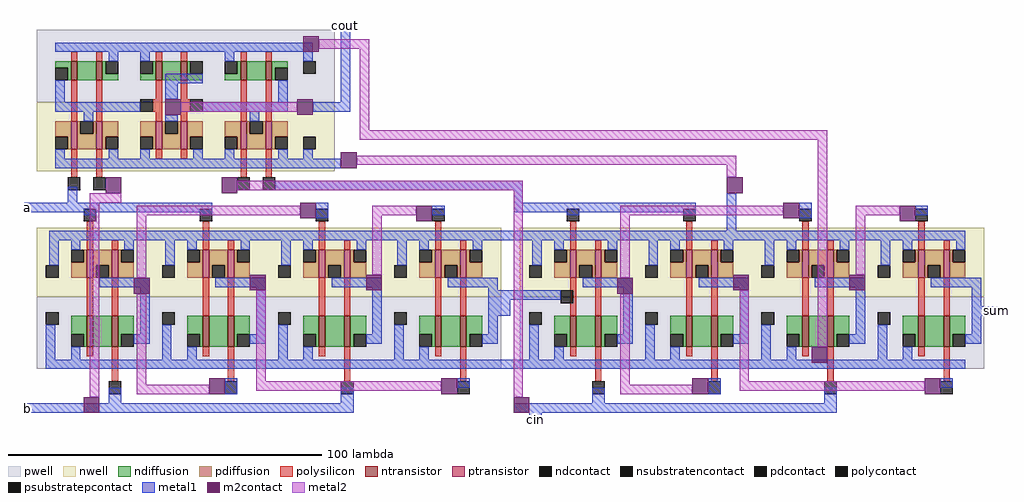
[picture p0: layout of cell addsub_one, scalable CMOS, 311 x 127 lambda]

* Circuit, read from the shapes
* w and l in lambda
.subckt addsub_one GND! Vdd! a b cin cout sum
M1 n1 a n2 GND! nfet w=6 l=2
M2 n3 a GND! GND! nfet w=10 l=2
M3 GND! b n1 GND! nfet w=6 l=2
M4 xor2_0/nand2_2/A b n3 GND! nfet w=10 l=2
M5 n4 n2 GND! GND! nfet w=6 l=2
M6 cout n5 n4 GND! nfet w=6 l=2
M7 n6 a GND! GND! nfet w=10 l=2
M8 xor2_0/nand2_3/B xor2_0/nand2_2/A n6 GND! nfet w=10 l=2
M9 n7 cin GND! GND! nfet w=6 l=2
M10 n5 xor2_1/a n7 GND! nfet w=6 l=2
M11 n8 xor2_0/nand2_2/A GND! GND! nfet w=10 l=2
M12 xor2_0/nand2_3/A b n8 GND! nfet w=10 l=2
M13 n9 xor2_0/nand2_3/A GND! GND! nfet w=10 l=2
M14 xor2_1/a xor2_0/nand2_3/B n9 GND! nfet w=10 l=2
M15 n10 xor2_1/a GND! GND! nfet w=10 l=2
M16 xor2_1/nand2_2/A cin n10 GND! nfet w=10 l=2
M17 n11 xor2_1/a GND! GND! nfet w=10 l=2
M18 xor2_1/nand2_3/B xor2_1/nand2_2/A n11 GND! nfet w=10 l=2
M19 n12 xor2_1/nand2_2/A GND! GND! nfet w=10 l=2
M20 xor2_1/nand2_3/A cin n12 GND! nfet w=10 l=2
M21 n13 xor2_1/nand2_3/A GND! GND! nfet w=10 l=2
M22 sum xor2_1/nand2_3/B n13 GND! nfet w=10 l=2
M23 n2 a Vdd! n14 pfet w=9 l=2
M24 xor2_0/nand2_2/A a Vdd! Vdd! pfet w=9 l=2
M25 Vdd! b n2 n14 pfet w=9 l=2
M26 Vdd! b xor2_0/nand2_2/A Vdd! pfet w=9 l=2
M27 cout n2 Vdd! n14 pfet w=9 l=2
M28 Vdd! n5 cout n14 pfet w=9 l=2
M29 xor2_0/nand2_3/B a Vdd! Vdd! pfet w=9 l=2
M30 Vdd! xor2_0/nand2_2/A xor2_0/nand2_3/B Vdd! pfet w=9 l=2
M31 n5 cin Vdd! n14 pfet w=9 l=2
M32 Vdd! xor2_1/a n5 n14 pfet w=9 l=2
M33 xor2_0/nand2_3/A xor2_0/nand2_2/A Vdd! Vdd! pfet w=9 l=2
M34 Vdd! b xor2_0/nand2_3/A Vdd! pfet w=9 l=2
M35 xor2_1/a xor2_0/nand2_3/A Vdd! Vdd! pfet w=9 l=2
M36 Vdd! xor2_0/nand2_3/B xor2_1/a Vdd! pfet w=9 l=2
M37 xor2_1/nand2_2/A xor2_1/a Vdd! Vdd! pfet w=9 l=2
M38 Vdd! cin xor2_1/nand2_2/A Vdd! pfet w=9 l=2
M39 xor2_1/nand2_3/B xor2_1/a Vdd! Vdd! pfet w=9 l=2
M40 Vdd! xor2_1/nand2_2/A xor2_1/nand2_3/B Vdd! pfet w=9 l=2
M41 xor2_1/nand2_3/A xor2_1/nand2_2/A Vdd! Vdd! pfet w=9 l=2
M42 Vdd! cin xor2_1/nand2_3/A Vdd! pfet w=9 l=2
M43 sum xor2_1/nand2_3/A Vdd! Vdd! pfet w=9 l=2
M44 Vdd! xor2_1/nand2_3/B sum Vdd! pfet w=9 l=2
.ends

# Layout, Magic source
magic
tech scmos
<< polysilicon >>
rect 173 40 175 42
rect 174 36 175 40
rect 173 35 175 36
<< polycontact >>
rect 170 36 174 40
<< metal1 >>
rect 85 116 88 119
rect 100 100 103 125
rect 95 97 103 100
rect 89 79 100 82
rect 13 68 16 73
rect 79 72 158 75
rect -1 65 4 68
rect 10 65 18 68
rect 155 65 158 72
rect 223 59 226 71
rect 143 56 167 59
rect 149 37 170 40
rect 150 33 154 37
rect 301 32 310 35
rect 142 15 166 18
rect -1 1 4 4
rect 160 -2 164 4
<< m2contact >>
rect 88 116 93 121
rect 100 79 105 84
rect 25 71 30 76
rect 62 71 67 76
rect 223 71 228 76
rect 250 17 255 22
rect 18 1 23 6
rect 155 1 160 6
<< metal2 >>
rect 93 117 109 120
rect 106 91 109 117
rect 106 88 255 91
rect 105 80 226 83
rect 223 76 226 80
rect 67 72 158 75
rect 20 68 30 71
rect 20 6 23 68
rect 155 6 158 72
rect 252 22 255 88
use and4or2  and4or2_0
transform 1 0 -39 0 -1 132
box 42 9 137 60
use xor2  xor2_1
transform 1 0 157 0 1 7
box -2 -6 151 61
use xor2  xor2_0
transform 1 0 3 0 1 7
box -2 -6 151 61
<< labels >>
rlabel metal1 160 -2 164 0 5 cin
rlabel metal1 100 124 103 125 1 cout
rlabel metal1 308 32 310 35 3 sum
rlabel metal1 -1 65 1 68 7 a
rlabel metal1 -1 1 1 4 7 b
<< end >>

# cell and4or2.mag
magic
tech scmos
<< nwell >>
rect 42 32 137 54
<< pwell >>
rect 42 9 137 32
<< ntransistor >>
rect 53 19 55 25
rect 61 19 63 25
rect 80 19 82 25
rect 88 19 90 25
rect 107 19 109 25
rect 115 19 117 25
<< ptransistor >>
rect 53 38 55 47
rect 61 38 63 47
rect 80 38 82 47
rect 88 38 90 47
rect 107 38 109 47
rect 115 38 117 47
<< ndiffusion >>
rect 52 21 53 25
rect 48 19 53 21
rect 55 19 61 25
rect 63 23 68 25
rect 63 19 64 23
rect 75 23 80 25
rect 79 19 80 23
rect 82 19 88 25
rect 90 23 95 25
rect 90 19 91 23
rect 102 23 107 25
rect 106 19 107 23
rect 109 19 115 25
rect 117 21 118 25
rect 117 19 122 21
<< pdiffusion >>
rect 52 43 53 47
rect 48 38 53 43
rect 55 42 61 47
rect 55 38 56 42
rect 60 38 61 42
rect 63 43 64 47
rect 63 38 68 43
rect 79 43 80 47
rect 75 38 80 43
rect 82 42 88 47
rect 82 38 83 42
rect 87 38 88 42
rect 90 43 91 47
rect 90 38 95 43
rect 106 43 107 47
rect 102 38 107 43
rect 109 42 115 47
rect 109 38 110 42
rect 114 38 115 42
rect 117 43 118 47
rect 117 38 122 43
<< ndcontact >>
rect 48 21 52 25
rect 64 19 68 23
rect 75 19 79 23
rect 91 19 95 23
rect 102 19 106 23
rect 118 21 122 25
rect 127 19 131 23
<< pdcontact >>
rect 48 43 52 47
rect 56 38 60 42
rect 64 43 68 47
rect 75 43 79 47
rect 83 38 87 42
rect 91 43 95 47
rect 102 43 106 47
rect 110 38 114 42
rect 118 43 122 47
rect 127 43 131 47
<< polysilicon >>
rect 53 47 55 56
rect 61 47 63 56
rect 80 47 82 50
rect 88 47 90 50
rect 107 47 109 56
rect 115 47 117 56
rect 53 25 55 38
rect 61 25 63 38
rect 80 35 82 38
rect 79 31 82 35
rect 80 25 82 31
rect 88 35 90 38
rect 88 31 91 35
rect 88 25 90 31
rect 107 25 109 38
rect 115 25 117 38
rect 53 16 55 19
rect 61 16 63 19
rect 80 16 82 19
rect 88 16 90 19
rect 107 16 109 19
rect 115 16 117 19
<< polycontact >>
rect 52 56 56 60
rect 60 56 64 60
rect 106 56 110 60
rect 114 56 118 60
rect 75 31 79 35
rect 91 31 95 35
<< metal1 >>
rect 48 50 130 53
rect 48 47 51 50
rect 65 47 68 50
rect 75 47 78 50
rect 92 47 95 50
rect 102 47 105 50
rect 119 47 122 50
rect 127 47 130 50
rect 57 35 60 38
rect 83 36 87 38
rect 48 32 75 35
rect 48 25 51 32
rect 110 35 113 38
rect 95 32 122 35
rect 83 26 87 31
rect 83 23 95 26
rect 119 25 122 32
rect 130 32 137 35
rect 65 16 68 19
rect 75 16 78 19
rect 102 16 105 19
rect 127 16 130 19
rect 48 13 130 16
<< m2contact >>
rect 83 31 88 36
rect 125 31 130 36
<< metal2 >>
rect 88 32 125 35
<< labels >>
rlabel metal1 135 32 137 35 3 out
rlabel metal1 48 50 130 53 1 Vdd!
rlabel metal1 48 13 130 16 5 GND!
rlabel polycontact 52 58 56 60 1 a
rlabel polycontact 60 58 64 60 1 b
rlabel polycontact 106 58 110 60 1 c
rlabel polycontact 114 58 118 60 1 d
<< end >>

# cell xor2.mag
magic
tech scmos
<< metal1 >>
rect -2 58 56 61
rect 15 57 19 58
rect 52 57 56 58
rect 89 56 93 61
rect 126 57 130 60
rect 27 49 142 52
rect 33 28 36 32
rect 70 29 73 33
rect 144 25 151 28
rect 23 8 138 11
rect 23 -3 27 2
rect 60 0 64 5
rect 97 -3 101 2
rect 134 2 138 5
rect -2 -6 101 -3
<< m2contact >>
rect 84 56 89 61
rect 121 55 126 60
rect 31 32 36 37
rect 68 33 73 38
rect 105 33 110 38
rect 55 0 60 5
rect 129 0 134 5
<< metal2 >>
rect 32 57 84 60
rect 32 37 35 57
rect 107 57 121 60
rect 107 38 110 57
rect 32 3 35 32
rect 32 0 55 3
rect 70 4 73 33
rect 70 1 129 4
use nand2  nand2_1
transform 1 0 27 0 1 15
box 10 -15 47 44
use nand2  nand2_0
transform 1 0 -10 0 1 15
box 10 -15 47 44
use nand2  nand2_2
transform 1 0 64 0 1 15
box 10 -15 47 44
use nand2  nand2_3
transform 1 0 101 0 1 15
box 10 -15 47 44
<< labels >>
rlabel metal1 -2 58 0 61 7 a
rlabel metal1 -2 -6 0 -3 7 b
rlabel metal1 149 25 151 28 3 out
<< end >>

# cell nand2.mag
magic
tech scmos
<< nwell >>
rect 10 16 47 38
<< pwell >>
rect 10 -7 47 16
<< ntransistor >>
rect 26 0 28 10
rect 34 0 36 10
<< ptransistor >>
rect 26 22 28 31
rect 34 22 36 31
<< ndiffusion >>
rect 21 4 26 10
rect 25 0 26 4
rect 28 0 34 10
rect 36 4 41 10
rect 36 0 37 4
<< pdiffusion >>
rect 25 27 26 31
rect 21 22 26 27
rect 28 26 34 31
rect 28 22 29 26
rect 33 22 34 26
rect 36 27 37 31
rect 36 22 41 27
<< ndcontact >>
rect 21 0 25 4
rect 37 0 41 4
<< pdcontact >>
rect 21 27 25 31
rect 29 22 33 26
rect 37 27 41 31
<< psubstratepcontact >>
rect 13 7 17 11
<< nsubstratencontact >>
rect 13 22 17 26
<< polysilicon >>
rect 26 31 28 40
rect 34 31 36 34
rect 26 10 28 22
rect 34 10 36 22
rect 26 -3 28 0
rect 34 -11 36 0
<< polycontact >>
rect 25 40 29 44
rect 33 -15 37 -11
<< metal1 >>
rect 14 34 41 37
rect 14 26 17 34
rect 21 31 24 34
rect 38 31 41 34
rect 30 19 46 22
rect 13 -4 16 7
rect 43 4 46 19
rect 41 1 46 4
rect 21 -4 24 0
rect 13 -7 41 -4
<< labels >>
rlabel metal1 14 34 41 37 1 Vdd!
rlabel metal1 13 -7 41 -4 5 GND!
rlabel metal1 43 12 46 15 3 out
port 3 e
rlabel polycontact 25 40 29 44 1 A
port 2 n
rlabel polycontact 33 -15 37 -11 5 B
port 1 s
<< end >>
